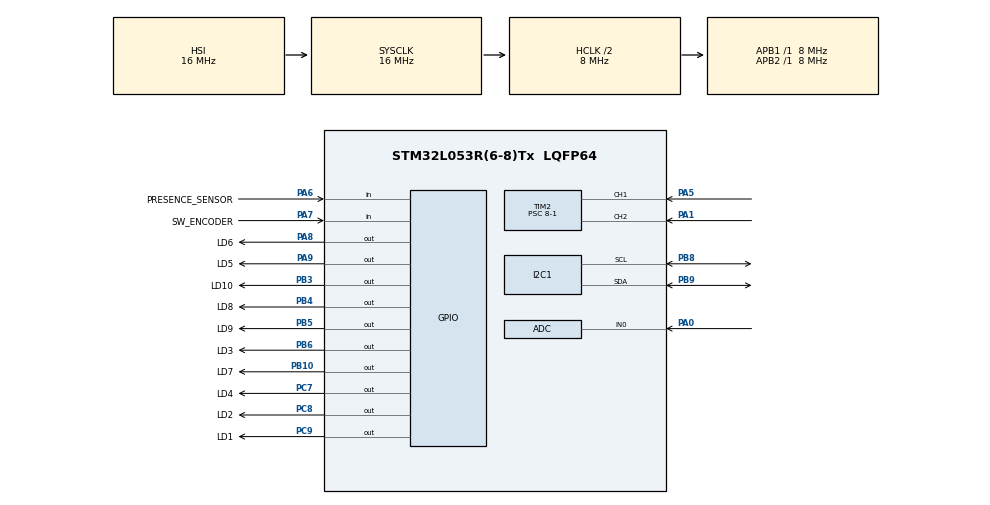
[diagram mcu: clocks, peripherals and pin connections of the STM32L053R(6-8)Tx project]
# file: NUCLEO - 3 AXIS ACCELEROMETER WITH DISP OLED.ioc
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ADC.ContinuousConvMode=ENABLE
ADC.SamplingTime=ADC_SAMPLETIME_160CYCLES_5
I2C1.Timing=0x00201D2B
Mcu.Family=STM32L0
Mcu.Name=STM32L053R(6-8)Tx
Mcu.Package=LQFP64
NVIC.ADC1_COMP_IRQn=true\:0\:0\:false\:false\:true\:true\:true\:true
NVIC.I2C1_IRQn=true\:0\:0\:false\:false\:true\:true\:true\:true
PA0.Mode=IN0
PA0.Signal=ADC_IN0
PA1.Signal=S_TIM2_CH2
PA5.Signal=S_TIM2_CH1
PA6.GPIO_Label=PRESENCE_SENSOR
PA6.Signal=GPIO_Input
PA7.GPIO_Label=SW_ENCODER
PA7.GPIO_PuPd=GPIO_PULLUP
PA7.Signal=GPIO_Input
PA8.GPIO_Label=LD6
PA8.Signal=GPIO_Output
PA9.GPIO_Label=LD5
PA9.Signal=GPIO_Output
PB10.GPIO_Label=LD7
PB10.Signal=GPIO_Output
PB3.GPIO_Label=LD10
PB3.Signal=GPIO_Output
PB4.GPIO_Label=LD8
PB4.Signal=GPIO_Output
PB5.GPIO_Label=LD9
PB5.Signal=GPIO_Output
PB6.GPIO_Label=LD3
PB6.Signal=GPIO_Output
PB8.Mode=I2C
PB8.Signal=I2C1_SCL
PB9.Mode=I2C
PB9.Signal=I2C1_SDA
PC7.GPIO_Label=LD4
PC7.Signal=GPIO_Output
PC8.GPIO_Label=LD2
PC8.Signal=GPIO_Output
PC9.GPIO_Label=LD1
PC9.Signal=GPIO_Output
ProjectManager.HeapSize=0x200
ProjectManager.StackSize=0x400
ProjectManager.TargetToolchain=STM32CubeIDE
RCC.AHBCLKDivider=RCC_SYSCLK_DIV2
RCC.AHBFreq_Value=8000000
RCC.APB1Freq_Value=8000000
RCC.APB1TimFreq_Value=8000000
RCC.APB2Freq_Value=8000000
RCC.APB2TimFreq_Value=8000000
RCC.HCLKFreq_Value=8000000
RCC.HSE_VALUE=8000000
RCC.HSI16_VALUE=16000000
RCC.HSI48_VALUE=48000000
RCC.HSI_VALUE=16000000
RCC.LSE_VALUE=32768
RCC.MSI_VALUE=2097000
RCC.SYSCLKFreq_VALUE=16000000
RCC.SYSCLKSource=RCC_SYSCLKSOURCE_HSI
RCC.VCOOutputFreq_Value=48000000
SH.S_TIM2_CH1.0=TIM2_CH1,Encoder_Interface
SH.S_TIM2_CH2.0=TIM2_CH2,Encoder_Interface
TIM2.EncoderMode=TIM_ENCODERMODE_TI12
TIM2.IC1Filter=8
TIM2.IC1Polarity=TIM_ICPOLARITY_RISING
TIM2.IC2Filter=8
TIM2.IC2Polarity=TIM_ICPOLARITY_FALLING
TIM2.Prescaler=8-1
board=NUCLEO-L053R8

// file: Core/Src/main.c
/* USER CODE BEGIN Header */
/**
  ******************************************************************************
  * @file           : main.c
  * @brief          : Main program body
  ******************************************************************************
  * @attention
  *
  * Copyright (c) 2025 STMicroelectronics.
  * All rights reserved.
  *
  * This software is licensed under terms that can be found in the LICENSE file
  * in the root directory of this software component.
  * If no LICENSE file comes with this software, it is provided AS-IS.
  *
  ******************************************************************************
  */
/* USER CODE END Header */
#include "main.h"

/* USER CODE BEGIN Includes */
#include "ssd1306_fonts.h"
#include "string.h"
#include "stdio.h"
/* USER CODE END Includes */

/* USER CODE BEGIN PTD */
typedef struct{
	int second, minutes, hours;
	int day, date, month, year;
}DS3231_TimesTypedef;

typedef enum{
	BCD_TO_DEC = 0x00,
	DEC_TO_BCD = 0x01
}DS3231_ConvertTypedef;

typedef enum {
	CLOCKWISE,
	COUNTERCLOCKWISE
}StepMotor_Typedef;
/* USER CODE END PTD */

/* USER CODE BEGIN PD */
#define ADRS_DS3231 (0x68 << 1)

#define ADRS_SECONDS 0x00
#define ADRS_MINUTES 0x01
#define ADRS_HOURS   0x02
#define ADRS_DAY	 0x03
#define ADRS_DATE 	 0x04
#define ADRS_MONTH 	 0x05
#define ADRS_YEAR    0x06

/* USER CODE END PD */

ADC_HandleTypeDef hadc;

I2C_HandleTypeDef hi2c1;

TIM_HandleTypeDef htim2;

/* USER CODE BEGIN PV */

// Bitmap
const unsigned char bandeira_DF_128x64 [] = {
	0xff, 0xff, 0xff, 0xff, 0xff, 0xff, 0xff, 0xff, 0xff, 0xff, 0xff, 0xff, 0xff, 0xff, 0xff, 0xf0,
	0xff, 0xff, 0xff, 0xff, 0xff, 0xff, 0xff, 0xff, 0xff, 0xff, 0xff, 0xff, 0xff, 0xff, 0xff, 0xf0,
	0xff, 0xff, 0xff, 0xff, 0xff, 0xff, 0xff, 0xff, 0xff, 0xff, 0xff, 0xff, 0xff, 0xff, 0xff, 0xf0,
	0xff, 0xff, 0xff, 0xff, 0xff, 0xff, 0xff, 0xff, 0xff, 0xff, 0xff, 0xff, 0xff, 0xff, 0xff, 0xf0,
	0xff, 0xff, 0xff, 0xff, 0xff, 0xff, 0xff, 0xff, 0xff, 0xff, 0xff, 0xff, 0xff, 0xff, 0xff, 0xf0,
	0xff, 0xff, 0xff, 0xff, 0xff, 0xff, 0xff, 0xff, 0xff, 0xff, 0xff, 0xff, 0xff, 0xff, 0xff, 0xf0,
	0xff, 0xff, 0xff, 0xff, 0xff, 0xff, 0xff, 0xff, 0xff, 0xff, 0xff, 0xff, 0xff, 0xff, 0xff, 0xf0,
	0xff, 0xff, 0xff, 0xff, 0xff, 0x80, 0x00, 0x03, 0x00, 0x00, 0x0f, 0xff, 0xff, 0xff, 0xff, 0xf0,
	0xff, 0xff, 0xff, 0xff, 0xff, 0x80, 0x00, 0x07, 0x80, 0x00, 0x0f, 0xff, 0xff, 0xff, 0xff, 0xf0,
	0xff, 0xff, 0xff, 0xff, 0xff, 0x80, 0x00, 0x0f, 0xc0, 0x00, 0x0f, 0xff, 0xff, 0xff, 0xff, 0xf0,
	0xff, 0xff, 0xff, 0xff, 0xff, 0x80, 0x00, 0x07, 0x00, 0x00, 0x0f, 0xff, 0xff, 0xff, 0xff, 0xf0,
	0xff, 0xff, 0xff, 0xff, 0xff, 0x80, 0x00, 0x03, 0x00, 0x00, 0x0f, 0xff, 0xff, 0xff, 0xff, 0xf0,
	0xff, 0xff, 0xff, 0xff, 0xff, 0x80, 0x00, 0x03, 0x00, 0x00, 0x0f, 0xff, 0xff, 0xff, 0xff, 0xf0,
	0xff, 0xff, 0xff, 0xff, 0xff, 0x80, 0x00, 0x03, 0x00, 0x00, 0x0f, 0xff, 0xff, 0xff, 0xff, 0xf0,
	0xff, 0xff, 0xff, 0xff, 0xff, 0x80, 0x00, 0x07, 0x00, 0x00, 0x0f, 0xff, 0xff, 0xff, 0xff, 0xf0,
	0xff, 0xff, 0xff, 0xff, 0xff, 0x80, 0x00, 0x0f, 0x80, 0x00, 0x0f, 0xff, 0xff, 0xff, 0xff, 0xf0,
	0xff, 0xff, 0xff, 0xff, 0xff, 0x80, 0x00, 0x1f, 0xc0, 0x00, 0x0f, 0xff, 0xff, 0xff, 0xff, 0xf0,
	0xff, 0xff, 0xff, 0xff, 0xff, 0x80, 0x00, 0x1f, 0xc0, 0x00, 0x0f, 0xff, 0xff, 0xff, 0xff, 0xf0,
	0xff, 0xff, 0xff, 0xff, 0xff, 0x80, 0x00, 0x1f, 0xc0, 0x00, 0x0f, 0xff, 0xff, 0xff, 0xff, 0xf0,
	0xff, 0xff, 0xff, 0xff, 0xff, 0x80, 0x00, 0x1f, 0xc0, 0x00, 0x0f, 0xff, 0xff, 0xff, 0xff, 0xf0,
	0xff, 0xff, 0xff, 0xff, 0xff, 0x80, 0x00, 0x1f, 0xc0, 0x00, 0x0f, 0xff, 0xff, 0xff, 0xff, 0xf0,
	0xff, 0xff, 0xff, 0xff, 0xff, 0x80, 0x00, 0x1f, 0xc0, 0x00, 0x0f, 0xff, 0xff, 0xff, 0xff, 0xf0,
	0xff, 0xff, 0xff, 0xff, 0xff, 0x80, 0x00, 0x1f, 0xc0, 0x00, 0x0f, 0xff, 0xff, 0xff, 0xff, 0xf0,
	0xff, 0xff, 0xff, 0xff, 0xff, 0x80, 0x00, 0x1d, 0xc0, 0x00, 0x0f, 0xff, 0xff, 0xff, 0xff, 0xf0,
	0xff, 0xff, 0xff, 0xff, 0xff, 0x80, 0x00, 0x18, 0xc0, 0x00, 0x0f, 0xff, 0xff, 0xff, 0xff, 0xf0,
	0xff, 0xff, 0xff, 0xff, 0xff, 0x80, 0x1f, 0xe0, 0x3f, 0xe0, 0x0f, 0xff, 0xff, 0xff, 0xff, 0xf0,
	0xff, 0xff, 0xff, 0xff, 0xff, 0x98, 0x3f, 0xe0, 0x3f, 0xf0, 0xcf, 0xff, 0xff, 0xff, 0xff, 0xf0,
	0xff, 0xff, 0xff, 0xff, 0xff, 0x98, 0x7f, 0xc0, 0x1f, 0xf8, 0xef, 0xff, 0xff, 0xff, 0xff, 0xf0,
	0xff, 0xff, 0xff, 0xff, 0xff, 0xff, 0xff, 0x80, 0x0f, 0xff, 0xff, 0xff, 0xff, 0xff, 0xff, 0xf0,
	0xff, 0xff, 0xff, 0xff, 0xff, 0xff, 0xff, 0x80, 0x0f, 0xff, 0xef, 0xff, 0xff, 0xff, 0xff, 0xf0,
	0xff, 0xff, 0xff, 0xff, 0xff, 0x98, 0x7f, 0xc0, 0x1f, 0xf0, 0xef, 0xff, 0xff, 0xff, 0xff, 0xf0,
	0xff, 0xff, 0xff, 0xff, 0xff, 0x88, 0x3f, 0xe0, 0x3f, 0xe0, 0xcf, 0xff, 0xff, 0xff, 0xff, 0xf0,
	0xff, 0xff, 0xff, 0xff, 0xff, 0x80, 0x00, 0x10, 0x40, 0x00, 0x0f, 0xff, 0xff, 0xff, 0xff, 0xf0,
	0xff, 0xff, 0xff, 0xff, 0xff, 0x80, 0x00, 0x18, 0xc0, 0x00, 0x0f, 0xff, 0xff, 0xff, 0xff, 0xf0,
	0xff, 0xff, 0xff, 0xff, 0xff, 0x80, 0x00, 0x1d, 0xc0, 0x00, 0x0f, 0xff, 0xff, 0xff, 0xff, 0xf0,
	0xff, 0xff, 0xff, 0xff, 0xff, 0x80, 0x00, 0x1f, 0xc0, 0x00, 0x0f, 0xff, 0xff, 0xff, 0xff, 0xf0,
	0xff, 0xff, 0xff, 0xff, 0xff, 0x80, 0x00, 0x1f, 0xc0, 0x00, 0x0f, 0xff, 0xff, 0xff, 0xff, 0xf0,
	0xff, 0xff, 0xff, 0xff, 0xff, 0x80, 0x00, 0x1f, 0xc0, 0x00, 0x0f, 0xff, 0xff, 0xff, 0xff, 0xf0,
	0xff, 0xff, 0xff, 0xff, 0xff, 0x80, 0x00, 0x1f, 0xc0, 0x00, 0x0f, 0xff, 0xff, 0xff, 0xff, 0xf0,
	0xff, 0xff, 0xff, 0xff, 0xff, 0x80, 0x00, 0x1f, 0xc0, 0x00, 0x0f, 0xff, 0xff, 0xff, 0xff, 0xf0,
	0xff, 0xff, 0xff, 0xff, 0xff, 0x80, 0x00, 0x1f, 0xc0, 0x00, 0x0f, 0xff, 0xff, 0xff, 0xff, 0xf0,
	0xff, 0xff, 0xff, 0xff, 0xff, 0x80, 0x00, 0x0f, 0xc0, 0x00, 0x0f, 0xff, 0xff, 0xff, 0xff, 0xf0,
	0xff, 0xff, 0xff, 0xff, 0xff, 0x80, 0x00, 0x07, 0x80, 0x00, 0x0f, 0xff, 0xff, 0xff, 0xff, 0xf0,
	0xff, 0xff, 0xff, 0xff, 0xff, 0x80, 0x00, 0x07, 0x00, 0x00, 0x0f, 0xff, 0xff, 0xff, 0xff, 0xf0,
	0xff, 0xff, 0xff, 0xff, 0xff, 0x80, 0x00, 0x03, 0x00, 0x00, 0x0f, 0xff, 0xff, 0xff, 0xff, 0xf0,
	0xff, 0xff, 0xff, 0xff, 0xff, 0x80, 0x00, 0x03, 0x00, 0x00, 0x0f, 0xff, 0xff, 0xff, 0xff, 0xf0,
	0xff, 0xff, 0xff, 0xff, 0xff, 0x80, 0x00, 0x03, 0x00, 0x00, 0x0f, 0xff, 0xff, 0xff, 0xff, 0xf0,
	0xff, 0xff, 0xff, 0xff, 0xff, 0x80, 0x00, 0x0f, 0x80, 0x00, 0x0f, 0xff, 0xff, 0xff, 0xff, 0xf0,
	0xff, 0xff, 0xff, 0xff, 0xff, 0x80, 0x00, 0x0f, 0x80, 0x00, 0x0f, 0xff, 0xff, 0xff, 0xff, 0xf0,
	0xff, 0xff, 0xff, 0xff, 0xff, 0x80, 0x00, 0x07, 0x00, 0x00, 0x0f, 0xff, 0xff, 0xff, 0xff, 0xf0,
	0xff, 0xff, 0xff, 0xff, 0xff, 0x80, 0x00, 0x02, 0x00, 0x00, 0x0f, 0xff, 0xff, 0xff, 0xff, 0xf0,
	0xff, 0xff, 0xff, 0xff, 0xff, 0xff, 0xff, 0xff, 0xff, 0xff, 0xff, 0xff, 0xff, 0xff, 0xff, 0xf0,
	0xff, 0xff, 0xff, 0xff, 0xff, 0xff, 0xff, 0xff, 0xff, 0xff, 0xff, 0xff, 0xff, 0xff, 0xff, 0xf0,
	0xff, 0xff, 0xff, 0xff, 0xff, 0xff, 0xff, 0xff, 0xff, 0xff, 0xff, 0xff, 0xff, 0xff, 0xff, 0xf0,
	0xff, 0xff, 0xff, 0xff, 0xff, 0xff, 0xff, 0xff, 0xff, 0xff, 0xff, 0xff, 0xff, 0xff, 0xff, 0xf0,
	0xff, 0xff, 0xff, 0xff, 0xff, 0xff, 0xff, 0xff, 0xff, 0xff, 0xff, 0xff, 0xff, 0xff, 0xff, 0xf0,
	0xff, 0xff, 0xff, 0xff, 0xff, 0xff, 0xff, 0xff, 0xff, 0xff, 0xff, 0xff, 0xff, 0xff, 0xff, 0xf0,
	0xff, 0xff, 0xff, 0xff, 0xff, 0xff, 0xff, 0xff, 0xff, 0xff, 0xff, 0xff, 0xff, 0xff, 0xff, 0xf0,
	0xff, 0xff, 0xff, 0xff, 0xff, 0xff, 0xff, 0xff, 0xff, 0xff, 0xff, 0xff, 0xff, 0xff, 0xff, 0xf0,
	0xff, 0xff, 0xff, 0xff, 0xff, 0xff, 0xff, 0xff, 0xff, 0xff, 0xff, 0xff, 0xff, 0xff, 0xff, 0xf0,
	0xff, 0xff, 0xff, 0xff, 0xff, 0xff, 0xff, 0xff, 0xff, 0xff, 0xff, 0xff, 0xff, 0xff, 0xff, 0xf0,
	0xff, 0xff, 0xff, 0xff, 0xff, 0xff, 0xff, 0xff, 0xff, 0xff, 0xff, 0xff, 0xff, 0xff, 0xff, 0xf0,
	0xff, 0xff, 0xff, 0xff, 0xff, 0xff, 0xff, 0xff, 0xff, 0xff, 0xff, 0xff, 0xff, 0xff, 0xff, 0xf0,
	0xff, 0xff, 0xff, 0xff, 0xff, 0xff, 0xff, 0xff, 0xff, 0xff, 0xff, 0xff, 0xff, 0xff, 0xff, 0xf0};

HAL_StatusTypeDef status;
DS3231_TimesTypedef time, time_read;
int32_t encoderValue, lastValue, flag, ang;

int8_t dir, swEncoder, swPresence, press, cliques, return_motor;

uint32_t window, window_time, count, passTime;

uint16_t noiseValue, times, wait_time = 500, send;

/* USER CODE END PV */

void SystemClock_Config(void);
static void MX_GPIO_Init(void);
static void MX_I2C1_Init(void);
static void MX_TIM2_Init(void);
static void MX_ADC_Init(void);
/* USER CODE BEGIN PFP */
HAL_StatusTypeDef DS3231_StartUp(void){
	HAL_StatusTypeDef verify;
	verify = HAL_I2C_IsDeviceReady(&hi2c1, ADRS_DS3231, 4, HAL_MAX_DELAY);
	return verify;
}

int Converter(DS3231_ConvertTypedef mode, int num){
	int result;

	switch(mode){
		case BCD_TO_DEC: result = (int)((num / 16 * 10) + (num % 16)); break;
		case DEC_TO_BCD: result = (int)((num / 10 * 16) + (num % 10)); break;
	}

	return result;
}

void DS3231_SetTime(uint8_t hours, uint8_t minutes, uint8_t seconds){
  uint8_t datin[2];

  datin[0] = 0x00;
  datin[1] = Converter(DEC_TO_BCD, seconds);
  HAL_I2C_Master_Transmit(&hi2c1, ADRS_DS3231, datin, 2, 100);

  datin[0] = 0x01;
  datin[1] = Converter(DEC_TO_BCD, minutes);
  HAL_I2C_Master_Transmit(&hi2c1, ADRS_DS3231, datin, 2, 100);

  datin[0] = 0x02;
  datin[1] = Converter(DEC_TO_BCD, hours);
  HAL_I2C_Master_Transmit(&hi2c1, ADRS_DS3231, datin, 2, 100);
}

void DS3231_SetDate(uint8_t date, uint8_t month, uint8_t year){
  uint8_t datin[2];

  datin[0] = 0x04;
  datin[1] = Converter(DEC_TO_BCD, date);
  HAL_I2C_Master_Transmit(&hi2c1, ADRS_DS3231, datin, 2, 100);

  datin[0] = 0x05;
  datin[1] = Converter(DEC_TO_BCD, month);
  HAL_I2C_Master_Transmit(&hi2c1, ADRS_DS3231, datin, 2, 100);

  datin[0] = 0x06;
  datin[1] = Converter(DEC_TO_BCD, year);
  HAL_I2C_Master_Transmit(&hi2c1, ADRS_DS3231, datin, 2, 100);
}

void DS3231_GetValues(void){
	uint8_t date[7];

	HAL_I2C_Mem_Read(&hi2c1, ADRS_DS3231, 0x00, 1, date, 7, HAL_MAX_DELAY);

	time_read.second  = Converter(BCD_TO_DEC, date[0]);
	time_read.minutes = Converter(BCD_TO_DEC, date[1]);
	time_read.hours   = Converter(BCD_TO_DEC, date[2]);
	time_read.day     = Converter(BCD_TO_DEC, date[3]);
	time_read.date    = Converter(BCD_TO_DEC, date[4]);
	time_read.month   = Converter(BCD_TO_DEC, date[5]);
	time_read.year    = Converter(BCD_TO_DEC, date[6]);

	HAL_Delay(5);
}

void ENCODER_Interpreter(void){
	encoderValue = TIM2->CNT;

	if(encoderValue < lastValue) dir = -1;
	else if (encoderValue > lastValue) dir = 1;
	else if (encoderValue == lastValue) dir = 0;

	lastValue = encoderValue;
}

void Keyboard_check(void){
	swEncoder  = !(HAL_GPIO_ReadPin(SW_ENCODER_GPIO_Port, SW_ENCODER_Pin));
	swPresence = !(HAL_GPIO_ReadPin(PRESENCE_SENSOR_GPIO_Port, PRESENCE_SENSOR_Pin));

	uint32_t now = HAL_GetTick();

	if((now - passTime) > 20){
		if(swEncoder) {
			if(!window){
				window = 1;
				window_time = now;
				cliques = 1;
			}

			else {
				if((now - window_time) < wait_time) cliques++;
				else {
					window_time = now;
					cliques = 1;
				}
			}
		}

		while(!(HAL_GPIO_ReadPin(SW_ENCODER_GPIO_Port, SW_ENCODER_Pin)));
	}

	passTime = now;
}

void NoiseSensor(void){
	HAL_ADC_Start(&hadc);
	HAL_ADC_PollForConversion(&hadc, 100);
	noiseValue = HAL_ADC_GetValue(&hadc);
	HAL_ADC_Stop(&hadc);
}

void NoiseInterpreter(void){
	if(noiseValue < 300) {
		HAL_GPIO_WritePin(LD1_GPIO_Port, LD1_Pin, GPIO_PIN_RESET);
		HAL_GPIO_WritePin(LD2_GPIO_Port, LD2_Pin, GPIO_PIN_RESET);
		HAL_GPIO_WritePin(LD3_GPIO_Port, LD3_Pin, GPIO_PIN_RESET);
		HAL_GPIO_WritePin(LD4_GPIO_Port, LD4_Pin, GPIO_PIN_RESET);
		HAL_GPIO_WritePin(LD5_GPIO_Port, LD5_Pin, GPIO_PIN_RESET);
		HAL_GPIO_WritePin(LD6_GPIO_Port, LD6_Pin, GPIO_PIN_RESET);
		HAL_GPIO_WritePin(LD7_GPIO_Port, LD7_Pin, GPIO_PIN_RESET);
		HAL_GPIO_WritePin(LD8_GPIO_Port, LD8_Pin, GPIO_PIN_RESET);
		HAL_GPIO_WritePin(LD9_GPIO_Port, LD9_Pin, GPIO_PIN_RESET);
		HAL_GPIO_WritePin(LD10_GPIO_Port, LD10_Pin, GPIO_PIN_RESET);
	}

	if(noiseValue > 300 && noiseValue < 400) {
			HAL_GPIO_WritePin(LD1_GPIO_Port, LD1_Pin, GPIO_PIN_SET);
			HAL_GPIO_WritePin(LD2_GPIO_Port, LD2_Pin, GPIO_PIN_RESET);
			HAL_GPIO_WritePin(LD3_GPIO_Port, LD3_Pin, GPIO_PIN_RESET);
			HAL_GPIO_WritePin(LD4_GPIO_Port, LD4_Pin, GPIO_PIN_RESET);
			HAL_GPIO_WritePin(LD5_GPIO_Port, LD5_Pin, GPIO_PIN_RESET);
			HAL_GPIO_WritePin(LD6_GPIO_Port, LD6_Pin, GPIO_PIN_RESET);
			HAL_GPIO_WritePin(LD7_GPIO_Port, LD7_Pin, GPIO_PIN_RESET);
			HAL_GPIO_WritePin(LD8_GPIO_Port, LD8_Pin, GPIO_PIN_RESET);
			HAL_GPIO_WritePin(LD9_GPIO_Port, LD9_Pin, GPIO_PIN_RESET);
			HAL_GPIO_WritePin(LD10_GPIO_Port, LD10_Pin, GPIO_PIN_RESET);
		}

	if(noiseValue > 400 && noiseValue < 500) {
		HAL_GPIO_WritePin(LD1_GPIO_Port, LD1_Pin, GPIO_PIN_SET);
		HAL_GPIO_WritePin(LD2_GPIO_Port, LD2_Pin, GPIO_PIN_SET);
		HAL_GPIO_WritePin(LD3_GPIO_Port, LD3_Pin, GPIO_PIN_RESET);
		HAL_GPIO_WritePin(LD4_GPIO_Port, LD4_Pin, GPIO_PIN_RESET);
		HAL_GPIO_WritePin(LD5_GPIO_Port, LD5_Pin, GPIO_PIN_RESET);
		HAL_GPIO_WritePin(LD6_GPIO_Port, LD6_Pin, GPIO_PIN_RESET);
		HAL_GPIO_WritePin(LD7_GPIO_Port, LD7_Pin, GPIO_PIN_RESET);
		HAL_GPIO_WritePin(LD8_GPIO_Port, LD8_Pin, GPIO_PIN_RESET);
		HAL_GPIO_WritePin(LD9_GPIO_Port, LD9_Pin, GPIO_PIN_RESET);
		HAL_GPIO_WritePin(LD10_GPIO_Port, LD10_Pin, GPIO_PIN_RESET);
	}

	if(noiseValue > 500 && noiseValue < 600) {
		HAL_GPIO_WritePin(LD1_GPIO_Port, LD1_Pin, GPIO_PIN_SET);
		HAL_GPIO_WritePin(LD2_GPIO_Port, LD2_Pin, GPIO_PIN_SET);
		HAL_GPIO_WritePin(LD3_GPIO_Port, LD3_Pin, GPIO_PIN_SET);
		HAL_GPIO_WritePin(LD4_GPIO_Port, LD4_Pin, GPIO_PIN_RESET);
		HAL_GPIO_WritePin(LD5_GPIO_Port, LD5_Pin, GPIO_PIN_RESET);
		HAL_GPIO_WritePin(LD6_GPIO_Port, LD6_Pin, GPIO_PIN_RESET);
		HAL_GPIO_WritePin(LD7_GPIO_Port, LD7_Pin, GPIO_PIN_RESET);
		HAL_GPIO_WritePin(LD8_GPIO_Port, LD8_Pin, GPIO_PIN_RESET);
		HAL_GPIO_WritePin(LD9_GPIO_Port, LD9_Pin, GPIO_PIN_RESET);
		HAL_GPIO_WritePin(LD10_GPIO_Port, LD10_Pin, GPIO_PIN_RESET);
	}

	if(noiseValue > 600 && noiseValue < 700) {
		HAL_GPIO_WritePin(LD1_GPIO_Port, LD1_Pin, GPIO_PIN_SET);
		HAL_GPIO_WritePin(LD2_GPIO_Port, LD2_Pin, GPIO_PIN_SET);
		HAL_GPIO_WritePin(LD3_GPIO_Port, LD3_Pin, GPIO_PIN_SET);
		HAL_GPIO_WritePin(LD4_GPIO_Port, LD4_Pin, GPIO_PIN_SET);
		HAL_GPIO_WritePin(LD5_GPIO_Port, LD5_Pin, GPIO_PIN_RESET);
		HAL_GPIO_WritePin(LD6_GPIO_Port, LD6_Pin, GPIO_PIN_RESET);
		HAL_GPIO_WritePin(LD7_GPIO_Port, LD7_Pin, GPIO_PIN_RESET);
		HAL_GPIO_WritePin(LD8_GPIO_Port, LD8_Pin, GPIO_PIN_RESET);
		HAL_GPIO_WritePin(LD9_GPIO_Port, LD9_Pin, GPIO_PIN_RESET);
		HAL_GPIO_WritePin(LD10_GPIO_Port, LD10_Pin, GPIO_PIN_RESET);
	}

	if(noiseValue > 700 && noiseValue < 800) {
		HAL_GPIO_WritePin(LD1_GPIO_Port, LD1_Pin, GPIO_PIN_SET);
		HAL_GPIO_WritePin(LD2_GPIO_Port, LD2_Pin, GPIO_PIN_SET);
		HAL_GPIO_WritePin(LD3_GPIO_Port, LD3_Pin, GPIO_PIN_SET);
		HAL_GPIO_WritePin(LD4_GPIO_Port, LD4_Pin, GPIO_PIN_SET);
		HAL_GPIO_WritePin(LD5_GPIO_Port, LD5_Pin, GPIO_PIN_SET);
		HAL_GPIO_WritePin(LD6_GPIO_Port, LD6_Pin, GPIO_PIN_RESET);
		HAL_GPIO_WritePin(LD7_GPIO_Port, LD7_Pin, GPIO_PIN_RESET);
		HAL_GPIO_WritePin(LD8_GPIO_Port, LD8_Pin, GPIO_PIN_RESET);
		HAL_GPIO_WritePin(LD9_GPIO_Port, LD9_Pin, GPIO_PIN_RESET);
		HAL_GPIO_WritePin(LD10_GPIO_Port, LD10_Pin, GPIO_PIN_RESET);
	}

	if(noiseValue > 800 && noiseValue < 900) {
		HAL_GPIO_WritePin(LD1_GPIO_Port, LD1_Pin, GPIO_PIN_SET);
		HAL_GPIO_WritePin(LD2_GPIO_Port, LD2_Pin, GPIO_PIN_SET);
		HAL_GPIO_WritePin(LD3_GPIO_Port, LD3_Pin, GPIO_PIN_SET);
		HAL_GPIO_WritePin(LD4_GPIO_Port, LD4_Pin, GPIO_PIN_SET);
		HAL_GPIO_WritePin(LD5_GPIO_Port, LD5_Pin, GPIO_PIN_SET);
		HAL_GPIO_WritePin(LD6_GPIO_Port, LD6_Pin, GPIO_PIN_SET);
		HAL_GPIO_WritePin(LD7_GPIO_Port, LD7_Pin, GPIO_PIN_RESET);
		HAL_GPIO_WritePin(LD8_GPIO_Port, LD8_Pin, GPIO_PIN_RESET);
		HAL_GPIO_WritePin(LD9_GPIO_Port, LD9_Pin, GPIO_PIN_RESET);
		HAL_GPIO_WritePin(LD10_GPIO_Port, LD10_Pin, GPIO_PIN_RESET);
	}

	if(noiseValue > 900 && noiseValue < 1000) {
		HAL_GPIO_WritePin(LD1_GPIO_Port, LD1_Pin, GPIO_PIN_SET);
		HAL_GPIO_WritePin(LD2_GPIO_Port, LD2_Pin, GPIO_PIN_SET);
		HAL_GPIO_WritePin(LD3_GPIO_Port, LD3_Pin, GPIO_PIN_SET);
		HAL_GPIO_WritePin(LD4_GPIO_Port, LD4_Pin, GPIO_PIN_SET);
		HAL_GPIO_WritePin(LD5_GPIO_Port, LD5_Pin, GPIO_PIN_SET);
		HAL_GPIO_WritePin(LD6_GPIO_Port, LD6_Pin, GPIO_PIN_SET);
		HAL_GPIO_WritePin(LD7_GPIO_Port, LD7_Pin, GPIO_PIN_SET);
		HAL_GPIO_WritePin(LD8_GPIO_Port, LD8_Pin, GPIO_PIN_RESET);
		HAL_GPIO_WritePin(LD9_GPIO_Port, LD9_Pin, GPIO_PIN_RESET);
		HAL_GPIO_WritePin(LD10_GPIO_Port, LD10_Pin, GPIO_PIN_RESET);
	}

	if(noiseValue > 1000 && noiseValue < 1100) {
		HAL_GPIO_WritePin(LD1_GPIO_Port, LD1_Pin, GPIO_PIN_SET);
		HAL_GPIO_WritePin(LD2_GPIO_Port, LD2_Pin, GPIO_PIN_SET);
		HAL_GPIO_WritePin(LD3_GPIO_Port, LD3_Pin, GPIO_PIN_SET);
		HAL_GPIO_WritePin(LD4_GPIO_Port, LD4_Pin, GPIO_PIN_SET);
		HAL_GPIO_WritePin(LD5_GPIO_Port, LD5_Pin, GPIO_PIN_SET);
		HAL_GPIO_WritePin(LD6_GPIO_Port, LD6_Pin, GPIO_PIN_SET);
		HAL_GPIO_WritePin(LD7_GPIO_Port, LD7_Pin, GPIO_PIN_SET);
		HAL_GPIO_WritePin(LD8_GPIO_Port, LD8_Pin, GPIO_PIN_SET);
		HAL_GPIO_WritePin(LD9_GPIO_Port, LD9_Pin, GPIO_PIN_RESET);
		HAL_GPIO_WritePin(LD10_GPIO_Port, LD10_Pin, GPIO_PIN_RESET);
	}

	if(noiseValue > 1100 && noiseValue < 1200) {
		HAL_GPIO_WritePin(LD1_GPIO_Port, LD1_Pin, GPIO_PIN_SET);
		HAL_GPIO_WritePin(LD2_GPIO_Port, LD2_Pin, GPIO_PIN_SET);
		HAL_GPIO_WritePin(LD3_GPIO_Port, LD3_Pin, GPIO_PIN_SET);
		HAL_GPIO_WritePin(LD4_GPIO_Port, LD4_Pin, GPIO_PIN_SET);
		HAL_GPIO_WritePin(LD5_GPIO_Port, LD5_Pin, GPIO_PIN_SET);
		HAL_GPIO_WritePin(LD6_GPIO_Port, LD6_Pin, GPIO_PIN_SET);
		HAL_GPIO_WritePin(LD7_GPIO_Port, LD7_Pin, GPIO_PIN_SET);
		HAL_GPIO_WritePin(LD8_GPIO_Port, LD8_Pin, GPIO_PIN_SET);
		HAL_GPIO_WritePin(LD9_GPIO_Port, LD9_Pin, GPIO_PIN_SET);
		HAL_GPIO_WritePin(LD10_GPIO_Port, LD10_Pin, GPIO_PIN_RESET);
	}

	if(noiseValue > 1200) {
		HAL_GPIO_WritePin(LD1_GPIO_Port, LD1_Pin, GPIO_PIN_SET);
		HAL_GPIO_WritePin(LD2_GPIO_Port, LD2_Pin, GPIO_PIN_SET);
		HAL_GPIO_WritePin(LD3_GPIO_Port, LD3_Pin, GPIO_PIN_SET);
		HAL_GPIO_WritePin(LD4_GPIO_Port, LD4_Pin, GPIO_PIN_SET);
		HAL_GPIO_WritePin(LD5_GPIO_Port, LD5_Pin, GPIO_PIN_SET);
		HAL_GPIO_WritePin(LD6_GPIO_Port, LD6_Pin, GPIO_PIN_SET);
		HAL_GPIO_WritePin(LD7_GPIO_Port, LD7_Pin, GPIO_PIN_SET);
		HAL_GPIO_WritePin(LD8_GPIO_Port, LD8_Pin, GPIO_PIN_SET);
		HAL_GPIO_WritePin(LD9_GPIO_Port, LD9_Pin, GPIO_PIN_SET);
		HAL_GPIO_WritePin(LD10_GPIO_Port, LD10_Pin, GPIO_PIN_SET);
	}
}
//
//void StepClockwise(void){
//	HAL_GPIO_WritePin(BOB01_GPIO_Port, BOB01_Pin, GPIO_PIN_SET);
//	HAL_GPIO_WritePin(BOB02_GPIO_Port, BOB02_Pin, GPIO_PIN_RESET);
//	HAL_GPIO_WritePin(BOB03_GPIO_Port, BOB03_Pin, GPIO_PIN_RESET);
//	HAL_GPIO_WritePin(BOB04_GPIO_Port, BOB04_Pin, GPIO_PIN_RESET);
//	HAL_Delay(10);
//
//	HAL_GPIO_WritePin(BOB01_GPIO_Port, BOB01_Pin, GPIO_PIN_RESET);
//	HAL_GPIO_WritePin(BOB02_GPIO_Port, BOB02_Pin, GPIO_PIN_SET);
//	HAL_GPIO_WritePin(BOB03_GPIO_Port, BOB03_Pin, GPIO_PIN_RESET);
//	HAL_GPIO_WritePin(BOB04_GPIO_Port, BOB04_Pin, GPIO_PIN_RESET);
//	HAL_Delay(10);
//
//	HAL_GPIO_WritePin(BOB01_GPIO_Port, BOB01_Pin, GPIO_PIN_RESET);
//	HAL_GPIO_WritePin(BOB02_GPIO_Port, BOB02_Pin, GPIO_PIN_RESET);
//	HAL_GPIO_WritePin(BOB03_GPIO_Port, BOB03_Pin, GPIO_PIN_SET);
//	HAL_GPIO_WritePin(BOB04_GPIO_Port, BOB04_Pin, GPIO_PIN_RESET);
//	HAL_Delay(10);
//
//	HAL_GPIO_WritePin(BOB01_GPIO_Port, BOB01_Pin, GPIO_PIN_RESET);
//	HAL_GPIO_WritePin(BOB02_GPIO_Port, BOB02_Pin, GPIO_PIN_RESET);
//	HAL_GPIO_WritePin(BOB03_GPIO_Port, BOB03_Pin, GPIO_PIN_RESET);
//	HAL_GPIO_WritePin(BOB04_GPIO_Port, BOB04_Pin, GPIO_PIN_SET);
//	HAL_Delay(10);
//}

//void StepCounterClockwise(void){
//	HAL_GPIO_WritePin(BOB01_GPIO_Port, BOB01_Pin, GPIO_PIN_RESET);
//	HAL_GPIO_WritePin(BOB02_GPIO_Port, BOB02_Pin, GPIO_PIN_RESET);
//	HAL_GPIO_WritePin(BOB03_GPIO_Port, BOB03_Pin, GPIO_PIN_RESET);
//	HAL_GPIO_WritePin(BOB04_GPIO_Port, BOB04_Pin, GPIO_PIN_SET);
//	HAL_Delay(10);
//
//	HAL_GPIO_WritePin(BOB01_GPIO_Port, BOB01_Pin, GPIO_PIN_RESET);
//	HAL_GPIO_WritePin(BOB02_GPIO_Port, BOB02_Pin, GPIO_PIN_RESET);
//	HAL_GPIO_WritePin(BOB03_GPIO_Port, BOB03_Pin, GPIO_PIN_SET);
//	HAL_GPIO_WritePin(BOB04_GPIO_Port, BOB04_Pin, GPIO_PIN_RESET);
//	HAL_Delay(10);
//
//	HAL_GPIO_WritePin(BOB01_GPIO_Port, BOB01_Pin, GPIO_PIN_RESET);
//	HAL_GPIO_WritePin(BOB02_GPIO_Port, BOB02_Pin, GPIO_PIN_SET);
//	HAL_GPIO_WritePin(BOB03_GPIO_Port, BOB03_Pin, GPIO_PIN_RESET);
//	HAL_GPIO_WritePin(BOB04_GPIO_Port, BOB04_Pin, GPIO_PIN_RESET);
//	HAL_Delay(10);
//
//	HAL_GPIO_WritePin(BOB01_GPIO_Port, BOB01_Pin, GPIO_PIN_SET);
//	HAL_GPIO_WritePin(BOB02_GPIO_Port, BOB02_Pin, GPIO_PIN_RESET);
//	HAL_GPIO_WritePin(BOB03_GPIO_Port, BOB03_Pin, GPIO_PIN_RESET);
//	HAL_GPIO_WritePin(BOB04_GPIO_Port, BOB04_Pin, GPIO_PIN_RESET);
//	HAL_Delay(10);
//}

void SendMotor(void){
//	static int atual_pos;
//	int32_t target_steps, direction, delta;
//
//	target_steps = (int32_t)(ang / 360 * 4096);
//	delta = target_steps - atual_pos;
//
//	if (delta >= 0) direction = CLOCKWISE;
//	else  {
//		direction = COUNTERCLOCKWISE;
//		delta = -delta;
//	}

//	for(int i = 0; i < delta; ++i){
//		if(direction == CLOCKWISE) StepClockwise();
//		else StepCounterClockwise();
//	}

//	atual_pos = target_steps;
}
/* USER CODE END PFP */

int main(void)
{

  /* MCU Configuration--------------------------------------------------------*/

  /* Reset of all peripherals, Initializes the Flash interface and the Systick. */
  HAL_Init();

  /* Configure the system clock */
  SystemClock_Config();

  /* Initialize all configured peripherals */
  MX_GPIO_Init();
  MX_I2C1_Init();
  MX_TIM2_Init();
  MX_ADC_Init();
  /* USER CODE BEGIN 2 */

  time.second = 0;
  time.minutes = 20;
  time.hours = 20;

  time.date = 10;
  time.month = 9;
  time.year = 25;

  status = DS3231_StartUp();
  DS3231_SetTime(20, 06, 0);
  DS3231_SetDate(9, 9, 25);

  ssd1306_Init();

  ssd1306_Fill(White);
  ssd1306_SetCursor(26, 22);
  ssd1306_WriteString("SELETIVA WS", Font_7x10, Black);
  ssd1306_SetCursor(26, 32);
  ssd1306_WriteString("   2025", Font_7x10, Black);
  ssd1306_UpdateScreen();
  HAL_Delay(3000);

  ssd1306_Fill(Black);
  ssd1306_DrawBitmap(0, 0, bandeira_DF_128x64, 128, 64, White);
  ssd1306_UpdateScreen();
  HAL_Delay(3000);

  char buf_time[100];
  char buf_date[100];
  char buf_message[100];

  char hours[6];
  char seconds[6];
  char minutes[6];
  char date[6];
  char month[6];
  char year[6];

  HAL_TIM_Encoder_Start(&htim2, TIM_CHANNEL_ALL);

  /* USER CODE END 2 */

  /* Infinite loop */
  /* USER CODE BEGIN WHILE */
  while (1) {

	  Keyboard_check();

	  if(swPresence){
		  sprintf(buf_message, "Mixer");
		  ssd1306_Fill(White);
		  ssd1306_SetCursor(32, 22);
		  ssd1306_WriteString(buf_message, Font_7x10, Black);
		  ssd1306_UpdateScreen();
	  } else {
		  HAL_GPIO_WritePin(LD1_GPIO_Port, LD1_Pin, GPIO_PIN_RESET);
		  HAL_GPIO_WritePin(LD2_GPIO_Port, LD2_Pin, GPIO_PIN_RESET);
		  HAL_GPIO_WritePin(LD3_GPIO_Port, LD3_Pin, GPIO_PIN_RESET);
		  HAL_GPIO_WritePin(LD4_GPIO_Port, LD4_Pin, GPIO_PIN_RESET);
		  HAL_GPIO_WritePin(LD5_GPIO_Port, LD5_Pin, GPIO_PIN_RESET);
		  HAL_GPIO_WritePin(LD6_GPIO_Port, LD6_Pin, GPIO_PIN_RESET);
		  HAL_GPIO_WritePin(LD7_GPIO_Port, LD7_Pin, GPIO_PIN_RESET);
		  HAL_GPIO_WritePin(LD8_GPIO_Port, LD8_Pin, GPIO_PIN_RESET);
		  HAL_GPIO_WritePin(LD9_GPIO_Port, LD9_Pin, GPIO_PIN_RESET);
		  HAL_GPIO_WritePin(LD10_GPIO_Port, LD10_Pin, GPIO_PIN_RESET);
	  }

	  while(swPresence){
		  NoiseSensor();
		  NoiseInterpreter();
		  Keyboard_check();
	  }

	  if(swEncoder){
		  if(cliques == 2){
			  cliques = 1;
			  wait_time = 500;

			  while(cliques == 1){
				  Keyboard_check();
				  ENCODER_Interpreter();
//				  MotorValue();

				  if(swEncoder) {
					  send = 2;
					  cliques = 1;
					  swEncoder = 0;
					  int8_t  op = 1;

					  while(send == 2) {
						  Keyboard_check();
						  ENCODER_Interpreter();

						  op -= dir;

						  if(op >= 2) op = 0;
						  if(op <= -1) op = 1;

						  sprintf(buf_message, "Deseja enviar?");
						  ssd1306_Fill(White);
						  ssd1306_SetCursor(10, 22);
						  ssd1306_WriteString(buf_message, Font_7x10, Black);

						  if(op == 1) {
							  ssd1306_SetCursor(10, 35);
							  sprintf(buf_message, "> SIM    NAO");
						  }

						  else if(op == 0) {
							  ssd1306_SetCursor(10, 35);
							  sprintf(buf_message, "  SIM  > NAO");
						  }

						  ssd1306_WriteString(buf_message, Font_7x10, Black);
						  ssd1306_UpdateScreen();

						  if(op == 1 && swEncoder == 1) send = 1;
						  else if (op == 0 && swEncoder == 1) send = 0;
					  }

					  if(send == 1) {
						  SendMotor();
						  sprintf(buf_message, "Enviando...");
						  ssd1306_Fill(White);
						  ssd1306_SetCursor(10, 22);
						  ssd1306_WriteString(buf_message, Font_7x10, Black);
						  ssd1306_UpdateScreen();
						  break;
					  }

					  else if(send == 0) {
						  sprintf(buf_message, "Cancelando...");
						  ssd1306_Fill(White);
						  ssd1306_SetCursor(10, 22);
						  ssd1306_WriteString(buf_message, Font_7x10, Black);
						  ssd1306_UpdateScreen();

						  HAL_Delay(2000);
						  break;
					  }
				  }

				  sprintf(buf_message, "Controle motor");
				  ssd1306_Fill(White);
				  ssd1306_SetCursor(10, 22);
				  ssd1306_WriteString(buf_message, Font_7x10, Black);

				  ssd1306_SetCursor(50, 35);
				  sprintf(buf_message, "Ang: %ld", ang);
				  ssd1306_WriteString(buf_message, Font_7x10, Black);
				  ssd1306_UpdateScreen();
			  }

			  wait_time = 500;
		  }
	  }

	  DS3231_GetValues();

	  if(time_read.hours <= 9) sprintf(hours, "0%d", time_read.hours);
	  else sprintf(hours, "%d", time_read.hours);

	  if(time_read.minutes <= 9) sprintf(minutes, "0%d", time_read.minutes);
	  else sprintf(minutes, "%d", time_read.minutes);

	  if(time_read.second <= 9) sprintf(seconds, "0%d", time_read.second);
	  else sprintf(seconds, "%d", time_read.second);

	  if(time_read.date <= 9) sprintf(date, "0%d", time_read.date);
	  else sprintf(date, "%d", time_read.date);

	  if(time_read.month <= 9) sprintf(month, "0%d", time_read.month);
	  else sprintf(month, "%d", time_read.month);

	  if(time_read.year <= 9) sprintf(year, "0%d", time_read.year);
	  else sprintf(year, "%d", time_read.year);

	  sprintf(buf_time, "%s:%s:%s", hours, minutes, seconds);
	  sprintf(buf_date, "%s/%s/%s", date, month, year);

	  ssd1306_Fill(White);
	  ssd1306_SetCursor(30, 22);
	  ssd1306_WriteString(buf_time, Font_7x10, Black);
	  ssd1306_SetCursor(30, 32);
	  ssd1306_WriteString(buf_date, Font_7x10, Black);
	  ssd1306_UpdateScreen();
    /* USER CODE END WHILE */

  }
}

void SystemClock_Config(void)
{
  RCC_OscInitTypeDef RCC_OscInitStruct = {0};
  RCC_ClkInitTypeDef RCC_ClkInitStruct = {0};
  RCC_PeriphCLKInitTypeDef PeriphClkInit = {0};

  /** Configure the main internal regulator output voltage
  */
  __HAL_PWR_VOLTAGESCALING_CONFIG(PWR_REGULATOR_VOLTAGE_SCALE1);

  /** Initializes the RCC Oscillators according to the specified parameters
  * in the RCC_OscInitTypeDef structure.
  */
  RCC_OscInitStruct.OscillatorType = RCC_OSCILLATORTYPE_HSI;
  RCC_OscInitStruct.HSIState = RCC_HSI_ON;
  RCC_OscInitStruct.HSICalibrationValue = RCC_HSICALIBRATION_DEFAULT;
  RCC_OscInitStruct.PLL.PLLState = RCC_PLL_NONE;
  if (HAL_RCC_OscConfig(&RCC_OscInitStruct) != HAL_OK)
  {
    Error_Handler();
  }

  /** Initializes the CPU, AHB and APB buses clocks
  */
  RCC_ClkInitStruct.ClockType = RCC_CLOCKTYPE_HCLK|RCC_CLOCKTYPE_SYSCLK
                              |RCC_CLOCKTYPE_PCLK1|RCC_CLOCKTYPE_PCLK2;
  RCC_ClkInitStruct.SYSCLKSource = RCC_SYSCLKSOURCE_HSI;
  RCC_ClkInitStruct.AHBCLKDivider = RCC_SYSCLK_DIV2;
  RCC_ClkInitStruct.APB1CLKDivider = RCC_HCLK_DIV1;
  RCC_ClkInitStruct.APB2CLKDivider = RCC_HCLK_DIV1;

  if (HAL_RCC_ClockConfig(&RCC_ClkInitStruct, FLASH_LATENCY_0) != HAL_OK)
  {
    Error_Handler();
  }
  PeriphClkInit.PeriphClockSelection = RCC_PERIPHCLK_I2C1;
  PeriphClkInit.I2c1ClockSelection = RCC_I2C1CLKSOURCE_PCLK1;
  if (HAL_RCCEx_PeriphCLKConfig(&PeriphClkInit) != HAL_OK)
  {
    Error_Handler();
  }
}

static void MX_ADC_Init(void)
{

  ADC_ChannelConfTypeDef sConfig = {0};

  /** Configure the global features of the ADC (Clock, Resolution, Data Alignment and number of conversion)
  */
  hadc.Instance = ADC1;
  hadc.Init.OversamplingMode = DISABLE;
  hadc.Init.ClockPrescaler = ADC_CLOCK_SYNC_PCLK_DIV2;
  hadc.Init.Resolution = ADC_RESOLUTION_12B;
  hadc.Init.SamplingTime = ADC_SAMPLETIME_160CYCLES_5;
  hadc.Init.ScanConvMode = ADC_SCAN_DIRECTION_FORWARD;
  hadc.Init.DataAlign = ADC_DATAALIGN_RIGHT;
  hadc.Init.ContinuousConvMode = ENABLE;
  hadc.Init.DiscontinuousConvMode = DISABLE;
  hadc.Init.ExternalTrigConvEdge = ADC_EXTERNALTRIGCONVEDGE_NONE;
  hadc.Init.ExternalTrigConv = ADC_SOFTWARE_START;
  hadc.Init.DMAContinuousRequests = DISABLE;
  hadc.Init.EOCSelection = ADC_EOC_SINGLE_CONV;
  hadc.Init.Overrun = ADC_OVR_DATA_PRESERVED;
  hadc.Init.LowPowerAutoWait = DISABLE;
  hadc.Init.LowPowerFrequencyMode = DISABLE;
  hadc.Init.LowPowerAutoPowerOff = DISABLE;
  if (HAL_ADC_Init(&hadc) != HAL_OK)
  {
    Error_Handler();
  }

  /** Configure for the selected ADC regular channel to be converted.
  */
  sConfig.Channel = ADC_CHANNEL_0;
  sConfig.Rank = ADC_RANK_CHANNEL_NUMBER;
  if (HAL_ADC_ConfigChannel(&hadc, &sConfig) != HAL_OK)
  {
    Error_Handler();
  }

}

static void MX_I2C1_Init(void)
{

  hi2c1.Instance = I2C1;
  hi2c1.Init.Timing = 0x00201D2B;
  hi2c1.Init.OwnAddress1 = 0;
  hi2c1.Init.AddressingMode = I2C_ADDRESSINGMODE_7BIT;
  hi2c1.Init.DualAddressMode = I2C_DUALADDRESS_DISABLE;
  hi2c1.Init.OwnAddress2 = 0;
  hi2c1.Init.OwnAddress2Masks = I2C_OA2_NOMASK;
  hi2c1.Init.GeneralCallMode = I2C_GENERALCALL_DISABLE;
  hi2c1.Init.NoStretchMode = I2C_NOSTRETCH_DISABLE;
  if (HAL_I2C_Init(&hi2c1) != HAL_OK)
  {
    Error_Handler();
  }

  /** Configure Analogue filter
  */
  if (HAL_I2CEx_ConfigAnalogFilter(&hi2c1, I2C_ANALOGFILTER_ENABLE) != HAL_OK)
  {
    Error_Handler();
  }

  /** Configure Digital filter
  */
  if (HAL_I2CEx_ConfigDigitalFilter(&hi2c1, 0) != HAL_OK)
  {
    Error_Handler();
  }

}

static void MX_TIM2_Init(void)
{

  TIM_Encoder_InitTypeDef sConfig = {0};
  TIM_MasterConfigTypeDef sMasterConfig = {0};

  htim2.Instance = TIM2;
  htim2.Init.Prescaler = 8-1;
  htim2.Init.CounterMode = TIM_COUNTERMODE_UP;
  htim2.Init.Period = 65535;
  htim2.Init.ClockDivision = TIM_CLOCKDIVISION_DIV1;
  htim2.Init.AutoReloadPreload = TIM_AUTORELOAD_PRELOAD_DISABLE;
  sConfig.EncoderMode = TIM_ENCODERMODE_TI12;
  sConfig.IC1Polarity = TIM_ICPOLARITY_RISING;
  sConfig.IC1Selection = TIM_ICSELECTION_DIRECTTI;
  sConfig.IC1Prescaler = TIM_ICPSC_DIV1;
  sConfig.IC1Filter = 8;
  sConfig.IC2Polarity = TIM_ICPOLARITY_FALLING;
  sConfig.IC2Selection = TIM_ICSELECTION_DIRECTTI;
  sConfig.IC2Prescaler = TIM_ICPSC_DIV1;
  sConfig.IC2Filter = 8;
  if (HAL_TIM_Encoder_Init(&htim2, &sConfig) != HAL_OK)
  {
    Error_Handler();
  }
  sMasterConfig.MasterOutputTrigger = TIM_TRGO_RESET;
  sMasterConfig.MasterSlaveMode = TIM_MASTERSLAVEMODE_DISABLE;
  if (HAL_TIMEx_MasterConfigSynchronization(&htim2, &sMasterConfig) != HAL_OK)
  {
    Error_Handler();
  }

}

static void MX_GPIO_Init(void)
{
  GPIO_InitTypeDef GPIO_InitStruct = {0};

  /* GPIO Ports Clock Enable */
  __HAL_RCC_GPIOA_CLK_ENABLE();
  __HAL_RCC_GPIOB_CLK_ENABLE();
  __HAL_RCC_GPIOC_CLK_ENABLE();

  /*Configure GPIO pin Output Level */
  HAL_GPIO_WritePin(GPIOB, LD7_Pin|LD10_Pin|LD8_Pin|LD9_Pin
                          |LD3_Pin, GPIO_PIN_RESET);

  /*Configure GPIO pin Output Level */
  HAL_GPIO_WritePin(GPIOC, LD4_Pin|LD2_Pin|LD1_Pin, GPIO_PIN_RESET);

  /*Configure GPIO pin Output Level */
  HAL_GPIO_WritePin(GPIOA, LD6_Pin|LD5_Pin, GPIO_PIN_RESET);

  /*Configure GPIO pin : PRESENCE_SENSOR_Pin */
  GPIO_InitStruct.Pin = PRESENCE_SENSOR_Pin;
  GPIO_InitStruct.Mode = GPIO_MODE_INPUT;
  GPIO_InitStruct.Pull = GPIO_NOPULL;
  HAL_GPIO_Init(PRESENCE_SENSOR_GPIO_Port, &GPIO_InitStruct);

  /*Configure GPIO pin : SW_ENCODER_Pin */
  GPIO_InitStruct.Pin = SW_ENCODER_Pin;
  GPIO_InitStruct.Mode = GPIO_MODE_INPUT;
  GPIO_InitStruct.Pull = GPIO_PULLUP;
  HAL_GPIO_Init(SW_ENCODER_GPIO_Port, &GPIO_InitStruct);

  /*Configure GPIO pins : LD7_Pin LD10_Pin LD8_Pin LD9_Pin
                           LD3_Pin */
  GPIO_InitStruct.Pin = LD7_Pin|LD10_Pin|LD8_Pin|LD9_Pin
                          |LD3_Pin;
  GPIO_InitStruct.Mode = GPIO_MODE_OUTPUT_PP;
  GPIO_InitStruct.Pull = GPIO_NOPULL;
  GPIO_InitStruct.Speed = GPIO_SPEED_FREQ_LOW;
  HAL_GPIO_Init(GPIOB, &GPIO_InitStruct);

  /*Configure GPIO pins : LD4_Pin LD2_Pin LD1_Pin */
  GPIO_InitStruct.Pin = LD4_Pin|LD2_Pin|LD1_Pin;
  GPIO_InitStruct.Mode = GPIO_MODE_OUTPUT_PP;
  GPIO_InitStruct.Pull = GPIO_NOPULL;
  GPIO_InitStruct.Speed = GPIO_SPEED_FREQ_LOW;
  HAL_GPIO_Init(GPIOC, &GPIO_InitStruct);

  /*Configure GPIO pins : LD6_Pin LD5_Pin */
  GPIO_InitStruct.Pin = LD6_Pin|LD5_Pin;
  GPIO_InitStruct.Mode = GPIO_MODE_OUTPUT_PP;
  GPIO_InitStruct.Pull = GPIO_NOPULL;
  GPIO_InitStruct.Speed = GPIO_SPEED_FREQ_LOW;
  HAL_GPIO_Init(GPIOA, &GPIO_InitStruct);

}

void Error_Handler(void)
{
  __disable_irq();
  while (1)
  {
  }
}
